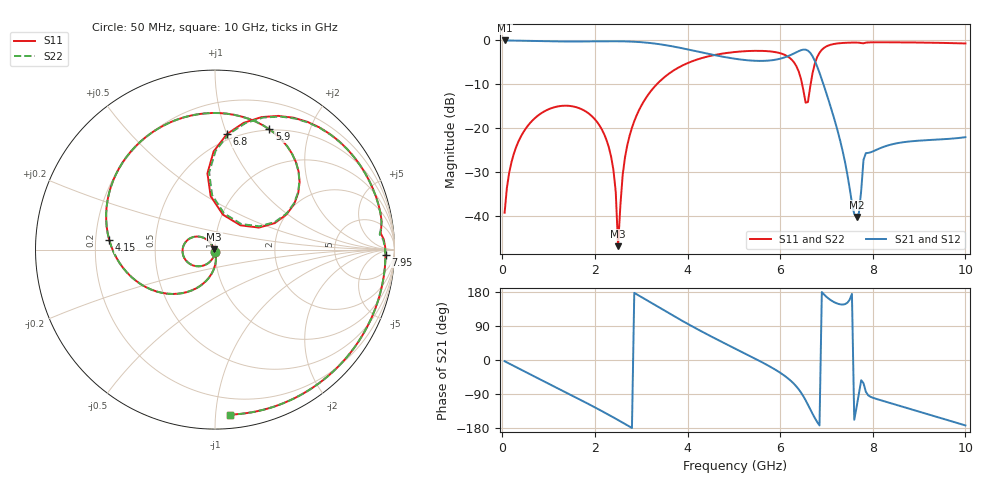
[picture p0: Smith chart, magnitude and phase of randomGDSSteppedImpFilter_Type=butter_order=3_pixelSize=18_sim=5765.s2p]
! freq	dB(S11)	phase(S11)	dB(S12)	phase(S12)
!  dB(S21)	phase(S21)	dB(S22)	phase(S22)
!S-par simulation data
#  GHz  S  DB  R 50
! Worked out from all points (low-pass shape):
!   200 points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, 50 MHz to 10 GHz, reference 50 ohm
!   highest |S21| = -0.01 dB at 50 MHz (marker M1); lowest = -40.1 dB at 7.65 GHz (marker M2)
!   |S21| within 3 dB of the highest: start of sweep to 4.432 GHz; 6.289 GHz to 6.662 GHz (372.6 MHz wide, 5.75 % of centre)
!   lowest |S11| = -46.7 dB at 2.5 GHz (marker M3), VSWR 1.01, Z = 49.6 + j0.184 ohm
!   |S11| at or under -10 dB: start of sweep to 3.334 GHz; 6.475 GHz to 6.658 GHz (183 MHz wide, 2.79 % of centre)
!   |S22| runs from -47.5 to -0.4 dB; largest |S21 - S12| = 0
!   S11 on the Smith chart (normalised r, x): 50 MHz: 1.00, -0.02; 4.15 GHz: 0.26, +0.04; 5.9 GHz: 0.49, +1.43; 6.8 GHz: 0.45, +1.00; 7.95 GHz: 30, -17; 10 GHz: 0.09, -1.09
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0.05  -39.15 -89.1  -0.01 -3.2  -0.01 -3.2  -39.15 -89.1
0.2  -27.58 -101.8  -0.03 -12.7  -0.03 -12.7  -27.58 -101.8
0.55  -19.41 -125.0  -0.10 -34.6  -0.10 -34.6  -19.41 -125.0
1.75  -15.82 160.7  -0.25 -109.0  -0.25 -109.0  -15.83 160.6
2.3  -24.26 127.0  -0.20 -144.8  -0.20 -144.8  -24.27 126.5
2.45  -34.43 123.9  -0.20 -154.9  -0.20 -154.9  -34.48 122.3
2.5  -46.75 156.2  -0.20 -158.4  -0.20 -158.4  -47.52 151.3
2.6  -30.51 -82.9  -0.21 -165.3  -0.21 -165.3  -30.52 -81.9
2.75  -21.60 -89.2  -0.26 -175.8  -0.26 -175.8  -21.60 -88.9
3.4  -9.30 -133.9  -0.87 137.5  -0.87 137.5  -9.30 -133.8
4.15  -4.55 174.7  -2.37 85.5  -2.37 85.5  -4.55 174.7
5.05  -2.61 118.5  -4.21 28.7  -4.21 28.7  -2.61 118.5
5.9  -2.67 65.6  -4.39 -25.9  -4.39 -25.9  -2.67 65.6
6.5  -11.24 26.6  -2.09 -95.4  -2.09 -95.4  -11.09 27.7
6.6  -14.01 77.2  -2.33 -117.8  -2.33 -117.8  -13.65 76.1
6.7  -7.39 95.7  -3.61 -142.0  -3.61 -142.0  -7.31 94.3
6.8  -3.78 84.1  -5.94 -163.6  -5.94 -163.6  -3.75 83.1
7.65  -0.50 12.5  -40.12 -124.8  -40.12 -124.8  -0.51 12.0
7.8  -0.65 5.6  -27.14 -61.3  -27.14 -61.3  -0.71 5.3
7.95  -0.44 -1.7  -25.44 -97.0  -25.44 -97.0  -0.45 -1.9
8.35  -0.43 -20.1  -23.79 -112.6  -23.79 -112.6  -0.43 -20.4
10  -0.69 -84.7  -21.99 -172.6  -21.99 -172.6  -0.69 -85.0
